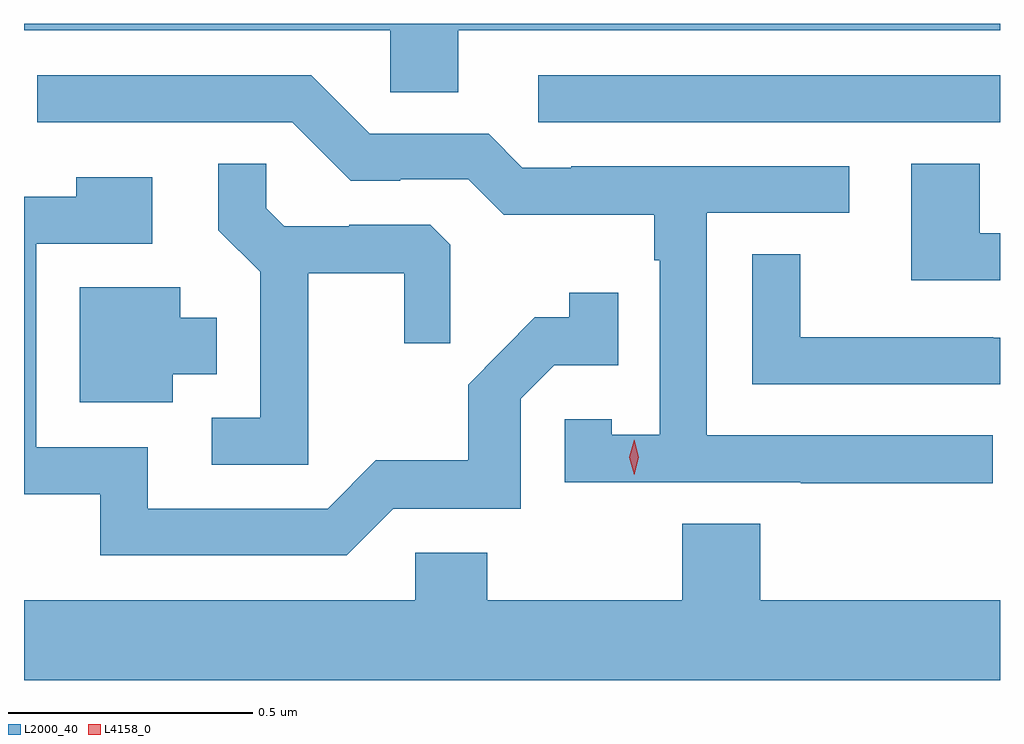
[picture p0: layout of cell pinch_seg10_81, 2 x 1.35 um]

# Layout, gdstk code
import gdstk
lib = gdstk.Library(unit=1e-6, precision=1e-09)
def R(c, l, rs):  # rectangles x0, y0, x1, y1
    for r in rs: c.add(gdstk.rectangle(r[:2], r[2:], *l))
def P(c, l, *ps):  # polygons
    for p in ps: c.add(gdstk.Polygon(p, *l))
L2000_40 = (2000, 40)
L4158_0 = (4158, 0)

pinch_seg10_81 = lib.new_cell('pinch_seg10_81')
R(pinch_seg10_81, L2000_40, [(808.947,1329.432,809.893,1329.528)])
P(pinch_seg10_81, L2000_40, [(808.783,1329.62),(809.893,1329.62),(809.893,1329.634),(807.893,1329.634),(807.893,1329.62),(808.644,1329.62),(808.644,1329.493),(808.783,1329.493)],
  [(809.878,1328.79),(809.292,1328.79),(809.292,1329.246),(809.584,1329.246),(809.584,1329.342),(809.014,1329.342),(809.014,1329.339),(808.914,1329.339),(808.845,1329.408),(808.602,1329.408),(808.482,1329.528),(807.92,1329.528),(807.92,1329.432),(808.443,1329.432),(808.563,1329.312),(808.664,1329.312),(808.664,1329.315),(808.803,1329.315),(808.876,1329.242),(809.184,1329.242),(809.184,1329.149),(809.196,1329.149),(809.196,1328.791),(809.097,1328.791),(809.097,1328.823),(809.001,1328.823),(809.001,1328.694),(809.485,1328.694),(809.485,1328.692),(809.878,1328.692)],
  [(808.475,1329.122),(808.672,1329.122),(808.672,1328.979),(808.766,1328.979),(808.766,1329.181),(808.725,1329.222),(808.56,1329.222),(808.56,1329.219),(808.426,1329.219),(808.389,1329.256),(808.389,1329.347),(808.291,1329.347),(808.291,1329.211),(808.377,1329.125),(808.377,1328.826),(808.278,1328.826),(808.278,1328.73),(808.475,1328.73)],
  [(809.893,1329.204),(809.851,1329.204),(809.851,1329.347),(809.711,1329.347),(809.711,1329.108),(809.893,1329.108)],
  [(808.65,1328.64),(808.911,1328.64),(808.911,1328.865),(808.98,1328.934),(809.111,1328.934),(809.111,1329.082),(809.01,1329.082),(809.01,1329.032),(808.94,1329.032),(808.803,1328.894),(808.803,1328.739),(808.614,1328.739),(808.515,1328.64),(808.147,1328.64),(808.147,1328.766),(807.918,1328.766),(807.918,1329.183),(808.156,1329.183),(808.156,1329.319),(808,1329.319),(808,1329.279),(807.893,1329.279),(807.893,1328.67),(808.049,1328.67),(808.049,1328.544),(808.554,1328.544)],
  [(809.893,1328.99),(809.879,1328.99),(809.879,1328.991),(809.484,1328.991),(809.484,1329.161),(809.385,1329.161),(809.385,1328.895),(809.893,1328.895)],
  [(808.198,1328.915),(808.288,1328.915),(808.288,1329.031),(808.213,1329.031),(808.213,1329.094),(808.007,1329.094),(808.007,1328.858),(808.198,1328.858)],
  [(809.893,1328.452),(809.402,1328.452),(809.402,1328.609),(809.242,1328.609),(809.242,1328.452),(808.842,1328.452),(808.842,1328.55),(808.695,1328.55),(808.695,1328.452),(807.893,1328.452),(807.893,1328.288),(809.893,1328.288)])
P(pinch_seg10_81, L4158_0, [(809.143,1328.709),(809.143,1328.709),(809.133,1328.745),(809.143,1328.781),(809.144,1328.781),(809.144,1328.781),(809.153,1328.745),(809.143,1328.709)])

lib.write_gds('pinch_seg10_81.gds')
